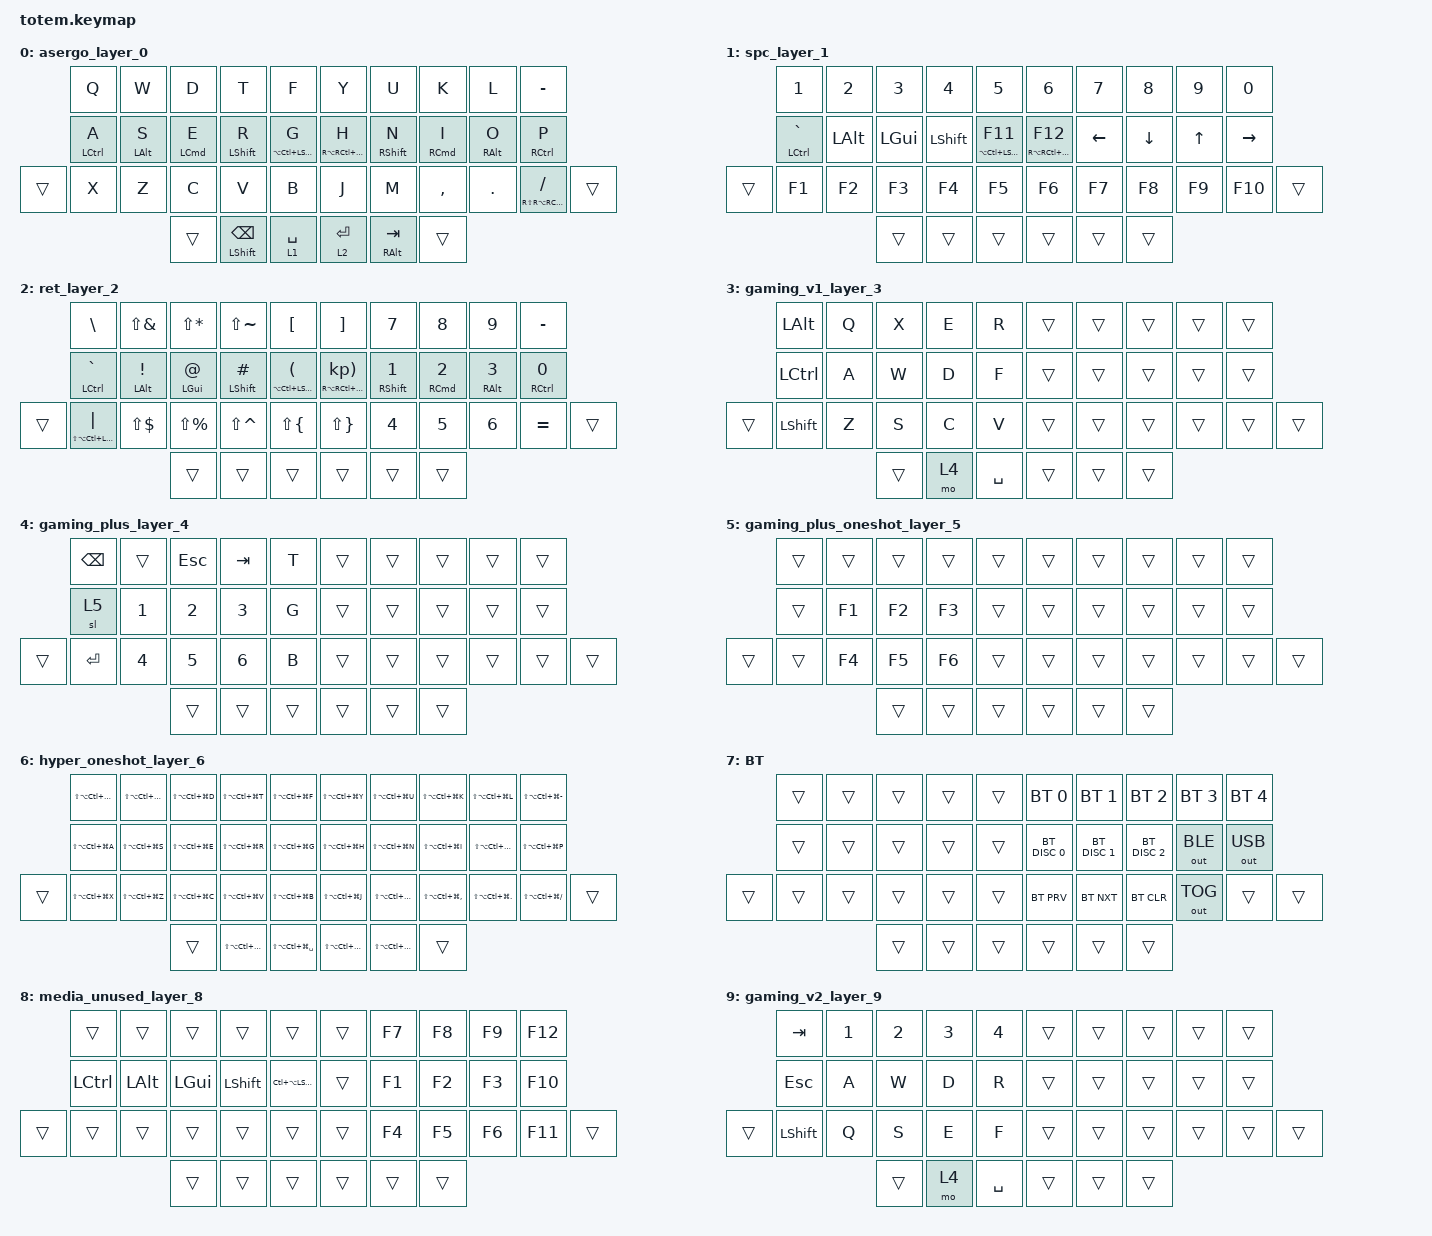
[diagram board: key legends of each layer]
#include <behaviors.dtsi>
#include <dt-bindings/zmk/bt.h>
#include <dt-bindings/zmk/keys.h>
#include <dt-bindings/zmk/outputs.h>

&mt {
    quick-tap-ms = <100>;
    flavor = "tap-preferred";
    tapping-term-ms = <170>;
};

/ {
    combos {
        compatible = "zmk,combos";

        asergo {
            timeout-ms = <100>;
            key-positions = <21 25>;
            bindings = <&tog 0>;
            layers = <8>;
        };

        base {
            timeout-ms = <100>;
            bindings = <&tog 8>;
            key-positions = <21 14>;
            layers = <0>;
        };

        copy-combo {
            bindings = <&kp LG(C)>;
            key-positions = <12 23>;
            layers = <0 1 2 7 8>;
        };

        up-combo {
            bindings = <&kp UP_ARROW>;
            key-positions = <7 17>;
            layers = <0 1 2 7 8>;
        };

        down-combo {
            bindings = <&kp DOWN>;
            key-positions = <17 28>;
            layers = <0 1 2 7 8>;
        };

        left-combo {
            bindings = <&kp LEFT>;
            key-positions = <17 16>;
            layers = <0 1 2 7 8>;
        };

        right-combo {
            bindings = <&kp RIGHT>;
            key-positions = <17 18>;
            layers = <0 1 2 7 8>;
        };

        vol-up-combo {
            bindings = <&kp C_VOL_UP>;
            key-positions = <6 16>;
            layers = <0 1 2 7 8>;
        };

        vol-down-combo {
            bindings = <&kp C_VOL_DN>;
            key-positions = <16 27>;
            layers = <0 1 2 7 8>;
        };

        bright-up-combo {
            bindings = <&kp C_BRIGHTNESS_INC>;
            key-positions = <5 15>;
            layers = <0 1 2 7 8>;
        };

        bright-down-combo {
            bindings = <&kp C_BRIGHTNESS_DEC>;
            key-positions = <15 26>;
            layers = <0 1 2 7 8>;
        };

        prev-combo {
            bindings = <&kp C_PREV>;
            key-positions = <5 6>;
            layers = <0 1 2 7 8>;
        };

        pause-combo {
            bindings = <&kp C_PLAY_PAUSE>;
            key-positions = <6 7>;
            layers = <0 1 2 7 8>;
        };

        next-combo {
            bindings = <&kp C_NEXT>;
            key-positions = <7 8>;
            layers = <0 1 2 7 8>;
        };

        mute-combo {
            bindings = <&kp C_MUTE>;
            key-positions = <16 15>;
            layers = <0 1 2 7 8>;
        };

        paste-combo {
            bindings = <&kp LG(V)>;
            key-positions = <13 24>;
            layers = <0 1 2 7 8>;
        };

        stt-combo {
            bindings = <&kp LC(LA(LS(V)))>;
            key-positions = <14 25>;
            layers = <0 1 2 7 8>;
        };

        page_back {
            bindings = <&kp LG(LEFT_BRACKET)>;
            key-positions = <1 2>;
            layers = <0 1 2 7 8>;
        };

        page_next {
            bindings = <&kp LG(RIGHT_BRACKET)>;
            key-positions = <2 3>;
            layers = <0 1 2 7 8>;
        };

        sleep {
            bindings = <&kp LC(LG(Q))>;
            key-positions = <8 9>;
            layers = <0 1 2 7 8>;
        };

        colon {
            bindings = <&kp SEMI>;
            key-positions = <8 18>;
            layers = <0 1 2 7 8>;
        };

        apos {
            bindings = <&kp APOS>;
            key-positions = <9 19>;
            layers = <0 1 2 7 8>;
        };

        esc {
            bindings = <&kp LG(TAB)>;
            key-positions = <13 14>;
            layers = <0 1 2 7 8>;
        };

        browser {
            bindings = <&kp LS(LA(LC(LG(A))))>;
            key-positions = <10 21>;
            layers = <0 1 2 7 8>;
        };

        esc2 {
            bindings = <&kp ESC>;
            key-positions = <2 12>;
            layers = <0 1 2 7 8>;
        };

        tab {
            bindings = <&kp TAB>;
            key-positions = <3 13>;
            layers = <0 1 2 7 8>;
        };

        oneshot_hyper {
            bindings = <&sl 6>;
            key-positions = <33 34>;
            layers = <0 1 2 7 8>;
        };

        bt_layer {
            timeout-ms = <100>;
            bindings = <&sl 7>;
            key-positions = <29 30>;
            layers = <0 1 2 8>;
        };

        mst {
            bindings = <&kp LS(LG(T))>;
            key-positions = <12 3>;
            layers = <0 1 2 7 8>;
        };

        raycast {
            bindings = <&kp F13>;
            key-positions = <4 14>;
            layers = <0 1 2 7 8>;
        };

        gaming_v1_layer {
            bindings = <&to 3>;
            key-positions = <23 24>;
            layers = <0 9>;
        };

        asergo_layer {
            bindings = <&to 0>;
            key-positions = <22 23>;
            layers = <3 9>;
        };

        gaming_v2_layer {
            bindings = <&to 9>;
            key-positions = <25 24>;
            layers = <0 3>;
        };
    };

    behaviors {
        gui_space_tab_morph: gui_space_tab_morph {
            compatible = "zmk,behavior-mod-morph";
            label = "GUI_SPACE_TAB_MORPH";
            bindings = <&kp SPACE>, <&kp TAB>;

            #binding-cells = <0>;
            mods = <(MOD_LGUI)>;
            keep-mods = <(MOD_LGUI)>;
        };
    };

    keymap {
        compatible = "zmk,keymap";

        /*
         * Asergo is the user's primary custom non-QWERTY typing layout.
         * Its name comes from the home-row sequence A S E R G, plus O for "aser go".
         */

        asergo_layer_0 {
            bindings = <
        &kp Q               &kp W           &kp D               &kp T                &kp F                       &kp Y                      &kp U              &kp K                &kp L            &kp MINUS
        &mt LEFT_CONTROL A  &mt LEFT_ALT S  &mt LEFT_COMMAND E  &mt LEFT_SHIFT R     &mt LA(LC(LEFT_SHIFT)) G    &mt RA(RC(RIGHT_SHIFT)) H  &mt RIGHT_SHIFT N  &mt RIGHT_COMMAND I  &mt RIGHT_ALT O  &mt RIGHT_CONTROL P
&trans  &kp X               &kp Z           &kp C               &kp V                &kp B                       &kp J                      &kp M              &kp COMMA            &kp DOT          &mt RS(RA(RC(RIGHT_META))) FSLH  &trans
                                            &trans              &mt LEFT_SHIFT BSPC  &lt 1 SPACE                 &lt 2 RET                  &mt RIGHT_ALT TAB  &trans
            >;
        };

        spc_layer_1 {
            bindings = <
        &kp N1           &kp N2    &kp N3    &kp N4     &kp N5                        &kp N6                  &kp N7    &kp N8    &kp N9  &kp N0
        &mt LCTRL GRAVE  &kp LALT  &kp LGUI  &kp LSHFT  &mt LA(LC(LEFT_SHIFT)) F11    &mt RA(RC(RSHIFT)) F12  &kp LEFT  &kp DOWN  &kp UP  &kp RIGHT
&trans  &kp F1           &kp F2    &kp F3    &kp F4     &kp F5                        &kp F6                  &kp F7    &kp F8    &kp F9  &kp F10    &trans
                                   &trans    &trans     &trans                        &trans                  &trans    &trans
            >;
        };

        ret_layer_2 {
            bindings = <
        &kp BSLH                        &kp LS(AMPS)       &kp LS(STAR)     &kp LS(TILDE)        &kp LBKT                                   &kp RBKT                                      &kp N7              &kp N8                &kp N9            &kp MINUS
        &mt LEFT_CONTROL GRAVE          &mt LEFT_ALT EXCL  &mt LEFT_GUI AT  &mt LEFT_SHIFT HASH  &mt LA(LC(LEFT_SHIFT)) LEFT_PARENTHESIS    &mt RA(RC(RIGHT_SHIFT)) KP_RIGHT_PARENTHESIS  &mt RIGHT_SHIFT N1  &mt RIGHT_COMMAND N2  &mt RIGHT_ALT N3  &mt RIGHT_CONTROL N0
&trans  &mt LS(LA(LC(LEFT_META))) PIPE  &kp LS(DLLR)       &kp LS(PRCNT)    &kp LS(CARET)        &kp LS(LBRC)                               &kp LS(RBRC)                                  &kp N4              &kp N5                &kp N6            &kp EQUAL             &trans
                                                           &trans           &trans               &trans                                     &trans                                        &trans              &trans
            >;
        };

        /*
         * Gaming stack: layer 3 is low-latency direct QWERTY controls; layer 4
         * is a held hotbar/util layer; layer 5 is a one-shot function layer.
         * Normal combos are scoped away from layers 3/4/5 to avoid game latency.
         */

        gaming_v1_layer_3 {
            bindings = <
        &kp LEFT_ALT  &kp Q  &kp X   &kp E  &kp R        &trans  &trans  &trans  &trans  &trans
        &kp LCTRL     &kp A  &kp W   &kp D  &kp F        &trans  &trans  &trans  &trans  &trans
&trans  &kp LSHFT     &kp Z  &kp S   &kp C  &kp V        &trans  &trans  &trans  &trans  &trans  &trans
                             &trans  &mo 4  &kp SPACE    &trans  &trans  &trans
            >;
        };

        gaming_plus_layer_4 {
            bindings = <
        &kp BACKSPACE  &trans  &kp ESC  &kp TAB  &kp T     &trans  &trans  &trans  &trans  &trans
        &sl 5          &kp N1  &kp N2   &kp N3   &kp G     &trans  &trans  &trans  &trans  &trans
&trans  &kp ENTER      &kp N4  &kp N5   &kp N6   &kp B     &trans  &trans  &trans  &trans  &trans  &trans
                               &trans   &trans   &trans    &trans  &trans  &trans
            >;
        };

        gaming_plus_oneshot_layer_5 {
            bindings = <
        &trans  &trans  &trans  &trans  &trans    &trans  &trans  &trans  &trans  &trans
        &trans  &kp F1  &kp F2  &kp F3  &trans    &trans  &trans  &trans  &trans  &trans
&trans  &trans  &kp F4  &kp F5  &kp F6  &trans    &trans  &trans  &trans  &trans  &trans  &trans
                        &trans  &trans  &trans    &trans  &trans  &trans
            >;
        };

        hyper_oneshot_layer_6 {
            bindings = <
        &kp LS(LA(LC(LG(Q))))  &kp LS(LA(LC(LG(W))))  &kp LS(LA(LC(LG(D))))  &kp LS(LA(LC(LG(T))))     &kp LS(LA(LC(LG(F))))        &kp LS(LA(LC(LG(Y))))    &kp LS(LA(LC(LG(U))))    &kp LS(LA(LC(LG(K))))      &kp LS(LA(LC(LG(L))))    &kp LS(LA(LC(LG(MINUS))))
        &kp LS(LA(LC(LG(A))))  &kp LS(LA(LC(LG(S))))  &kp LS(LA(LC(LG(E))))  &kp LS(LA(LC(LG(R))))     &kp LS(LA(LC(LG(G))))        &kp LS(LA(LC(LG(H))))    &kp LS(LA(LC(LG(N))))    &kp LS(LA(LC(LG(I))))      &kp LS(LA(LC(LG(O))))    &kp LS(LA(LC(LG(P))))
&trans  &kp LS(LA(LC(LG(X))))  &kp LS(LA(LC(LG(Z))))  &kp LS(LA(LC(LG(C))))  &kp LS(LA(LC(LG(V))))     &kp LS(LA(LC(LG(B))))        &kp LS(LA(LC(LG(J))))    &kp LS(LA(LC(LG(M))))    &kp LS(LA(LC(LG(COMMA))))  &kp LS(LA(LC(LG(DOT))))  &kp LS(LA(LC(LG(FSLH))))   &trans
                                                      &trans                 &kp LS(LA(LC(LG(BSPC))))  &kp LS(LA(LC(LG(SPACE))))    &kp LS(LA(LC(LG(RET))))  &kp LS(LA(LC(LG(TAB))))  &trans
            >;
        };

        /*
         * Right-hand one-shot Bluetooth controls. Profiles 0/1/2 are intended
         * for MacBook, Mac Mini, and Pixel 9 Pro respectively.
         */

        bt_layer_7 {
            label = "BT";
            bindings = <
        &trans  &trans  &trans  &trans  &trans    &bt BT_SEL 0   &bt BT_SEL 1   &bt BT_SEL 2  &bt BT_SEL 3  &bt BT_SEL 4
        &trans  &trans  &trans  &trans  &trans    &bt BT_DISC 0  &bt BT_DISC 1  &bt BT_DISC 2  &out OUT_BLE  &out OUT_USB
&trans  &trans  &trans  &trans  &trans  &trans    &bt BT_PRV     &bt BT_NXT     &bt BT_CLR    &out OUT_TOG  &trans        &trans
                        &trans  &trans  &trans    &trans         &trans         &trans
            >;
        };

        media_unused_layer_8 {
            bindings = <
        &trans     &trans    &trans    &trans     &trans               &trans  &kp F7  &kp F8  &kp F9  &kp F12
        &kp LCTRL  &kp LALT  &kp LGUI  &kp LSHFT  &kp LC(LA(LSHFT))    &trans  &kp F1  &kp F2  &kp F3  &kp F10
&trans  &trans     &trans    &trans    &trans     &trans               &trans  &kp F4  &kp F5  &kp F6  &kp F11  &trans
                             &trans    &trans     &trans               &trans  &trans  &trans
            >;
        };

        gaming_v2_layer_9 {
            bindings = <
        &kp TAB    &kp N1  &kp N2  &kp N3  &kp N4       &trans  &trans  &trans  &trans  &trans
        &kp ESC    &kp A   &kp W   &kp D   &kp R        &trans  &trans  &trans  &trans  &trans
&trans  &kp LSHFT  &kp Q   &kp S   &kp E   &kp F        &trans  &trans  &trans  &trans  &trans  &trans
                           &trans  &mo 4   &kp SPACE    &trans  &trans  &trans
            >;
        };
    };
};
